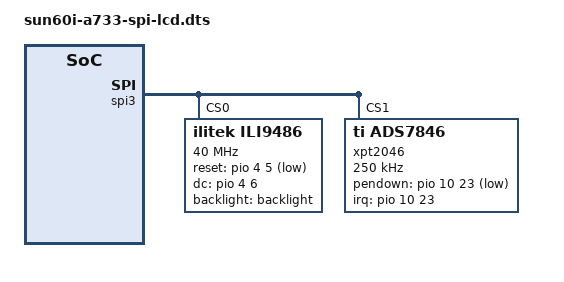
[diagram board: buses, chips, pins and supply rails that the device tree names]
/dts-v1/;
/plugin/;

/ {
	fragment@0 {
		target = <&spi3>;

		__overlay__ {
			status = "okay";
			spi-max-frequency = <40000000>;

			ili9486@0 {
				compatible = "ilitek,ili9486";
				reg = <0>;
				spi-max-frequency = <40000000>;
				rotate = <270>;
				fps = <30>;
				bgr;
				buswidth = <8>;
				regwidth = <16>;
				reset-gpios = <&pio 4 5 0x1>;
				dc-gpios = <&pio 4 6 0x0>;
				backlight = <&backlight>;
				status = "okay";

				display-timings {
					native-mode = <&timing0>;
					timing0: timing0 {
						clock-frequency = <6400000>;
						hactive = <320>;
						vactive = <480>;
						hfront-porch = <10>;
						hback-porch = <10>;
						hsync-len = <5>;
						vfront-porch = <10>;
						vback-porch = <10>;
						vsync-len = <2>;
					};
				};
			};

			xpt2046@1 {
				compatible = "ti,ads7846";
				reg = <1>;
				spi-max-frequency = <250000>;
				interrupt-parent = <&pio>;
				interrupts = <10 23 0x4>;
				pendown-gpios = <&pio 10 23 0x1>;
				ti,x-plate-ohms = <0x3c>;
				touchscreen-max-pressure = <0xff>;
				touchscreen-inverted-x;
				touchscreen-swapped-x-y;
				touchscreen-size-x = <320>;
				touchscreen-size-y = <480>;
				status = "okay";
			};
		};
	};
};
